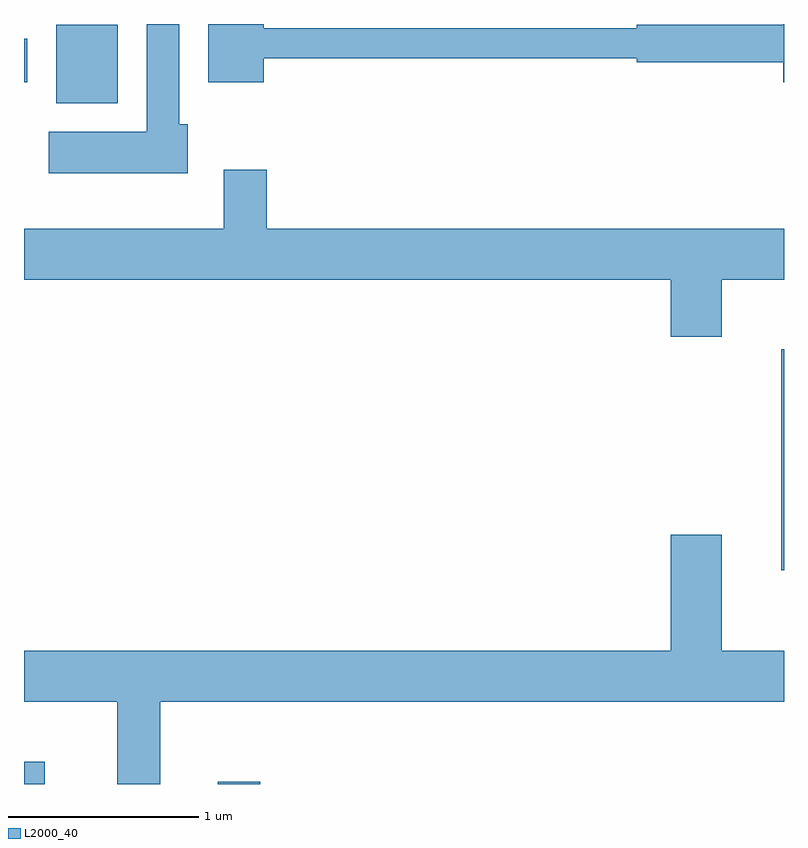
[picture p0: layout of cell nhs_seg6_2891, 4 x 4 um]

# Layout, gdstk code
import gdstk
lib = gdstk.Library(unit=1e-6, precision=1e-09)
def R(c, l, rs):  # rectangles x0, y0, x1, y1
    for r in rs: c.add(gdstk.rectangle(r[:2], r[2:], *l))
def P(c, l, *ps):  # polygons
    for p in ps: c.add(gdstk.Polygon(p, *l))
L2000_40 = (2000, 40)

nhs_seg6_2891 = lib.new_cell('nhs_seg6_2891')
R(nhs_seg6_2891, L2000_40, [(271.611,1656.162,271.719,1656.279), (272.631,1656.162,272.854,1656.174), (275.596,1657.286,275.611,1658.449), (271.781,1659.746,272.104,1660.159), (271.611,1659.856,271.629,1660.084)])
P(nhs_seg6_2891, L2000_40, [(272.474,1659.634),(272.429,1659.634),(272.429,1660.162),(272.256,1660.162),(272.256,1659.594),(271.741,1659.594),(271.741,1659.376),(272.474,1659.376)],
  [(272.874,1659.981),(274.836,1659.981),(274.836,1659.961),(275.606,1659.961),(275.606,1659.856),(275.611,1659.856),(275.611,1660.162),(275.606,1660.162),(275.606,1660.159),(274.836,1660.159),(274.836,1660.139),(272.874,1660.139),(272.874,1660.162),(272.581,1660.162),(272.581,1659.856),(272.874,1659.856)],
  [(275.284,1658.816),(275.611,1658.816),(275.611,1659.084),(272.889,1659.084),(272.889,1659.394),(272.661,1659.394),(272.661,1659.084),(271.611,1659.084),(271.611,1658.816),(275.016,1658.816),(275.016,1658.516),(275.284,1658.516)],
  [(272.329,1656.596),(275.611,1656.596),(275.611,1656.864),(275.284,1656.864),(275.284,1657.474),(275.016,1657.474),(275.016,1656.864),(271.611,1656.864),(271.611,1656.596),(272.101,1656.596),(272.101,1656.162),(272.329,1656.162)])

lib.write_gds('nhs_seg6_2891.gds')
